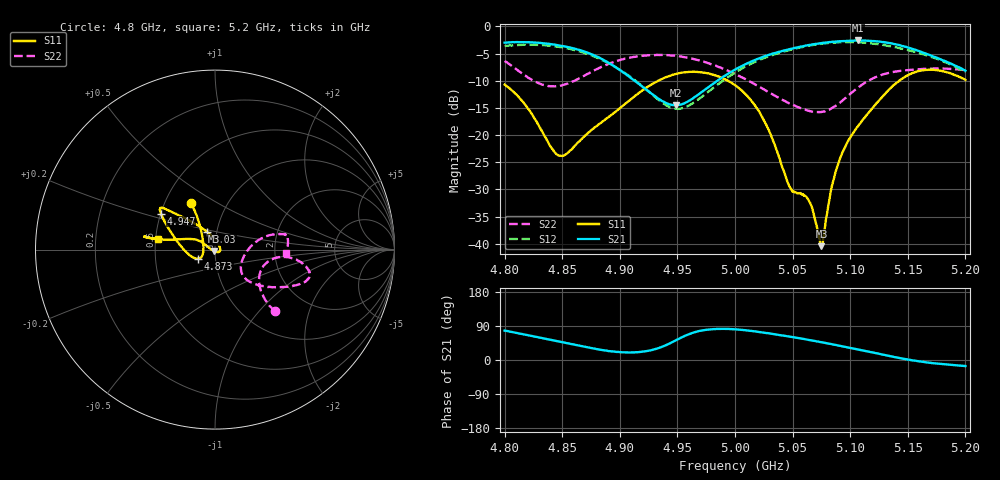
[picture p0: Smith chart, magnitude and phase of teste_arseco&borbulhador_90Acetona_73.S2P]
! Network Analyzer HP8722D
! Hewlett-Packard
! Data name: Linha & Wilkinson
! Saver's name: Rodrigo Anjos
! Comments: Teste da utilização de aquisição
! continua pelo VNA HP8722D
! Time and date: 17/4/2025 11:39
!  Frequency  S11  S21  S12  S22
# HZ  S  MA R 50
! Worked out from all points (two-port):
!   401 points, 4.8 GHz to 5.2 GHz, reference 50 ohm
!   highest |S21| = -2.57 dB at 5.107 GHz (marker M1); lowest = -14.5 dB at 4.949 GHz (marker M2)
!   |S21| within 3 dB of the highest: start of sweep to 4.881 GHz; 5.025 GHz to 5.173 GHz (148.1 MHz wide, 2.9 % of centre)
!   lowest |S11| = -40.4 dB at 5.075 GHz (marker M3), VSWR 1.02, Z = 49.5 - j0.83 ohm
!   |S11| at or under -10 dB: start of sweep to 4.933 GHz; 4.994 GHz to 5.143 GHz (148.6 MHz wide, 2.93 % of centre)
!   |S22| runs from -15.8 to -5.2 dB; largest |S21 - S12| = 1
!   S11 on the Smith chart (normalised r, x): 4.8 GHz: 0.68, +0.38; 4.873 GHz: 0.83, -0.08; 4.947 GHz: 0.50, +0.23; 5.03 GHz: 0.90, +0.18; 5.2 GHz: 0.52, +0.07
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4.8e9  0.2916 117.1  0.7097 77.5  0.6605 -15.9  0.4808 -45.7
4.818e9  0.1895 119.7  0.7184 66.7  0.68 -23.9  0.3527 -42.6
4.845e9  0.06674 163.8  0.6759 50.2  0.6534 -36.7  0.2821 -21.5
4.867e9  0.0924 -150.4  0.5992 36.6  0.5802 -48.0  0.343 -7.7
4.873e9  0.1062 -151.4  0.5683 32.9  0.5523 -51.1  0.3703 -6.4
4.902e9  0.1842 176.3  0.3854 20.4  0.3887 -62.9  0.497 -9.2
4.934e9  0.3196 151.2  0.215 31.8  0.2098 -55.9  0.5467 -15.8
4.947e9  0.3618 146.4  0.189 49.4  0.1762 -38.0  0.5394 -18.6
4.949e9  0.366 145.9  0.1884 52.7  0.1749 -34.7  0.5367 -19.2
4.975e9  0.3728 141.5  0.2679 79.6  0.2425 -2.5  0.4668 -26.2
5e9  0.289 137.2  0.4 80.9  0.3768 3.4  0.3653 -34.6
5.017e9  0.19 128.5  0.4907 75.7  0.4694 0.3  0.2949 -40.8
5.03e9  0.107 113.8  0.5508 70.0  0.5353 -3.8  0.2453 -43.5
5.048e9  0.03264 46.0  0.6203 61.5  0.6089 -10.8  0.1943 -40.8
5.061e9  0.02765 -20.3  0.6652 54.7  0.6567 -17.0  0.1717 -32.3
5.067e9  0.02131 -41.4  0.6831 51.6  0.6753 -20.1  0.1644 -26.5
5.075e9  0.009503 -118.2  0.7028 47.0  0.6935 -24.7  0.1632 -16.2
5.089e9  0.05237 154.6  0.7279 38.9  0.7138 -33.3  0.1915 2.5
5.107e9  0.1219 152.7  0.7437 27.9  0.7143 -45.0  0.275 13.9
5.134e9  0.2648 167.9  0.7039 10.5  0.6602 -61.2  0.3756 13.3
5.164e9  0.3964 169.8  0.5714 -5.5  0.5523 -74.8  0.4073 11.1
5.2e9  0.3224 169.4  0.3923 -15.9  0.3797 -84.2  0.3955 -2.4
